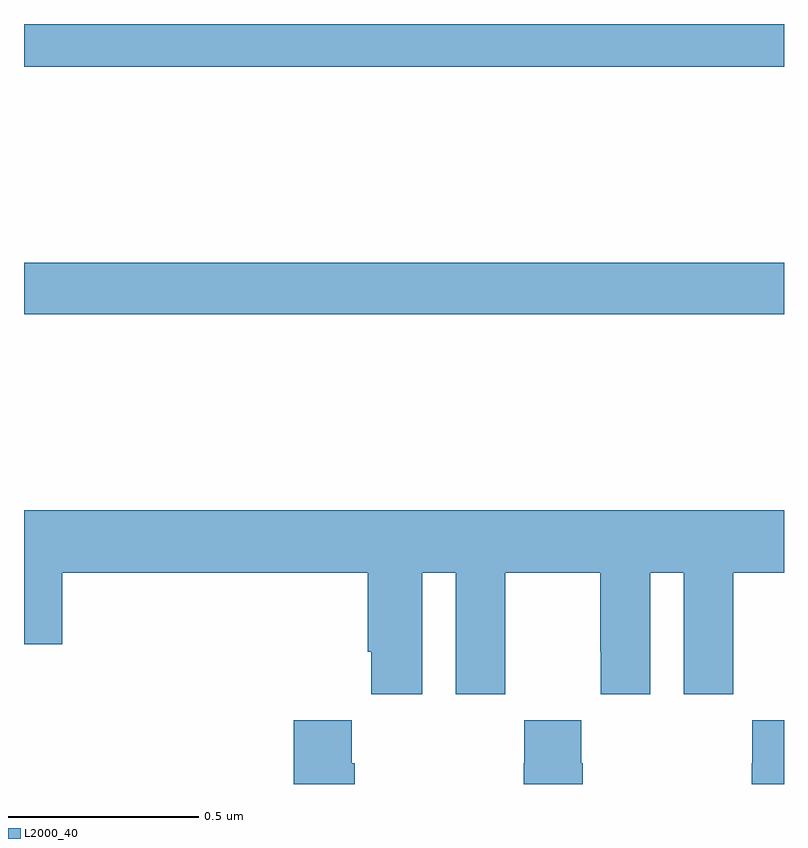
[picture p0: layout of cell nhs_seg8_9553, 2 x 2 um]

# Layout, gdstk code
import gdstk
lib = gdstk.Library(unit=1e-6, precision=1e-09)
def R(c, l, rs):  # rectangles x0, y0, x1, y1
    for r in rs: c.add(gdstk.rectangle(r[:2], r[2:], *l))
def P(c, l, *ps):  # polygons
    for p in ps: c.add(gdstk.Polygon(p, *l))
L2000_40 = (2000, 40)

nhs_seg8_9553 = lib.new_cell('nhs_seg8_9553')
R(nhs_seg8_9553, L2000_40, [(237,1161.136,239,1161.272), (237,1161.788,239,1161.9)])
P(nhs_seg8_9553, L2000_40, [(238.048,1160.456),(238.136,1160.456),(238.136,1160.136),(238.266,1160.136),(238.266,1160.248),(238.267,1160.248),(238.267,1160.456),(238.517,1160.456),(238.517,1160.248),(238.518,1160.248),(238.518,1160.136),(238.648,1160.136),(238.648,1160.456),(238.736,1160.456),(238.736,1160.136),(238.866,1160.136),(238.866,1160.248),(238.867,1160.248),(238.867,1160.456),(239,1160.456),(239,1160.62),(237,1160.62),(237,1160.268),(237.1,1160.268),(237.1,1160.456),(237.905,1160.456),(237.905,1160.248),(237.914,1160.248),(237.914,1160.136),(238.048,1160.136)],
  [(239,1160.068),(238.917,1160.068),(238.917,1159.955),(238.915,1159.955),(238.915,1159.9),(239,1159.9)],
  [(238.47,1159.955),(238.467,1159.955),(238.467,1160.068),(238.317,1160.068),(238.317,1159.955),(238.315,1159.955),(238.315,1159.9),(238.47,1159.9)],
  [(237.87,1159.955),(237.863,1159.955),(237.863,1160.068),(237.71,1160.068),(237.71,1159.9),(237.87,1159.9)])

lib.write_gds('nhs_seg8_9553.gds')
